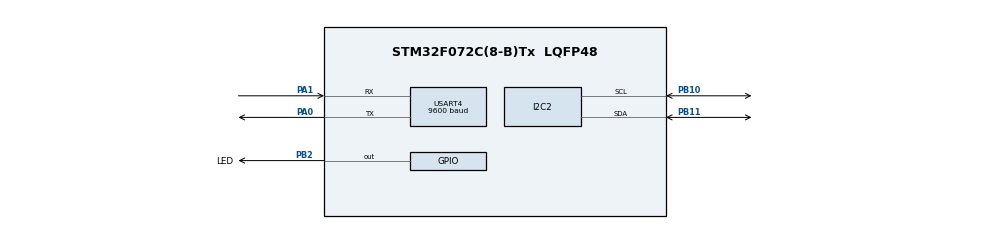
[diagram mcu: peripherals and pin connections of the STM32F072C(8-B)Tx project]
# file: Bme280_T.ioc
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Mcu.Family=STM32F0
Mcu.Name=STM32F072C(8-B)Tx
Mcu.Package=LQFP48
PA0.Mode=Asynchronous
PA0.Signal=USART4_TX
PA1.Mode=Asynchronous
PA1.Signal=USART4_RX
PB10.Mode=I2C
PB10.Signal=I2C2_SCL
PB11.Mode=I2C
PB11.Signal=I2C2_SDA
PB2.GPIO_Label=LED
PB2.Signal=GPIO_Output
PF0-OSC_IN.Mode=HSE-External-Oscillator
PF0-OSC_IN.Signal=RCC_OSC_IN
PF1-OSC_OUT.Mode=HSE-External-Oscillator
PF1-OSC_OUT.Signal=RCC_OSC_OUT
ProjectManager.HeapSize=0x200
ProjectManager.StackSize=0x400
ProjectManager.TargetToolchain=STM32CubeIDE
USART4.BaudRate=9600
USART4.Parity=PARITY_EVEN
USART4.VirtualMode-Asynchronous=VM_ASYNC
USART4.WordLength=WORDLENGTH_9B
board=custom

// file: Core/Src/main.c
/* USER CODE BEGIN Header */
/**
  ******************************************************************************
  * @file           : main.c
  * @brief          : Main program body
  ******************************************************************************
  * @attention
  *
  * <h2><center>&copy; Copyright (c) 2021 STMicroelectronics.
  * All rights reserved.</center></h2>
  *
  * This software component is licensed by ST under BSD 3-Clause license,
  * the "License"; You may not use this file except in compliance with the
  * License. You may obtain a copy of the License at:
  *                        opensource.org/licenses/BSD-3-Clause
  *
  ******************************************************************************
  */
/* USER CODE END Header */
#include "main.h"

/* USER CODE BEGIN Includes */
#include <string.h>
#include <stdio.h>
/* USER CODE END Includes */

I2C_HandleTypeDef hi2c2;

UART_HandleTypeDef huart4;

/* USER CODE BEGIN PV */
/*Информация о регистрах взята из "BME280 Combined humidity and pressure sensor"*/
#define BME280_ADDRESS 0x76<<1 /*I2C Адрес BME280, p.32, 6.2*/
#define BME280_REG_ID 0xD0 /*ID регистр BME280, p.26, 5.2*/
#define BME280_ID 0x60 /*Информация, читаемая от BME280 в ID регистре, 27, 5.4.1*/
#define BME280_REG_SOFTRESET 0xE0 /*Регистр для перезагрузки BME280, p.27, 5.4.2*/
#define BME280_SOFTRESET_VALUE 0xB6 /*Значение, записываемое в регистр для перезагрузки BME280, p.27, 5.4.2*/
#define BME280_REGISTER_STATUS 0XF3 /*Регистр статуса BME280, p.28, 5.4.4*/
#define BME280_STATUS_MEASURING 0X08 /*Значение из регистра статуса при запуске измерения BME280, p.28, 5.4.4*/
#define BME280_STATUS_IM_UPDATE 0X01 /*Значение из регистра статуса при окончании измерения BME280, p.28, 5.4.4*/
#define BME280_REGISTER_DIG_T1 0x88/*Регистр, откуда читаем калибровочное значение 1, p.24, 4.2.2*/
#define BME280_REGISTER_DIG_T2 0x8A/*Регистр, откуда читаем калибровочное значение 2, p.24, 4.2.2*/
#define BME280_REGISTER_DIG_T3 0x8C/*Регистр, откуда читаем калибровочное значение 3, p.24, 4.2.2*/
//------------------------------------------------//
#define BME280_REG_CONFIG 0xF5 /*Регистр конфигурации BME280, задаём время ожидания, значение постоянной времени
фильтра BME280, p.29, 5.4.6*/
#define BME280_STBY_MSK 0xE0/*Вспомогательная "маска" для параметрирования времени ожидания*/
/*Время ожидания t_standby, мс, p.30*/
#define BME280_STBY_0_5 0x00
#define BME280_STBY_62_5 0x20
#define BME280_STBY_125 0x40
#define BME280_STBY_250 0x60
#define BME280_STBY_500 0x80
#define BME280_STBY_1000 0xA0
#define BME280_STBY_10 0xC0
#define BME280_STBY_20 0xE0
//------------------------------------------------//
#define BME280_FILTER_MSK 0x1C/*Вспомогательная "маска" для параметрирования постоянной времени фильтра*/
/*Постоянная времени фильтра, p.30, 5.4.6., p.30*/
#define BME280_FILTER_OFF 0x00
#define BME280_FILTER_2 0x04
#define BME280_FILTER_4 0x08
#define BME280_FILTER_8 0x0C
#define BME280_FILTER_16 0x10
//------------------------------------------------//
#define BME280_REG_CTRL_MEAS 0xF4 /*Регистр параметров сбора данных давления и температуры, p.28, 5.4.5*/
/*p.29, 5.4.5*/
#define BME280_OSRS_T_MSK 0xE0/*Вспомогательная "маска" для параметрирования преддискретизации*/
/*Параметр преддискретизации температуры, p.29*/
#define BME280_OSRS_T_SKIP 0x00
#define BME280_OSRS_T_x1 0x20
#define BME280_OSRS_T_x2 0x40
#define BME280_OSRS_T_x4 0x60
#define BME280_OSRS_T_x8 0x80
#define BME280_OSRS_T_x16 0xA0
//------------------------------------------------//
#define BME280_MODE_MSK 0x03/*Вспомогательная "маска" для параметрирования режима работы BME280*/
/*Режим работы датчика, p.29*/
#define BME280_MODE_SLEEP 0x00
#define BME280_MODE_FORCED 0x01
#define BME280_MODE_NORMAL 0x03
//------------------------------------------------//
#define BME280_REGISTER_TEMPDATA 0xFA/*Регистр, откуда читаются данные температуры BME280, p.31, 5.4.8*/
//------------------------------------------------
#define be24toword(a) ((((a)>>16)&0x000000ff)|((a)&0x0000ff00)|(((a)<<16)&0x00ff0000))/*Функция перестановки байтов*/
//------------------------------------------------//
char str[100];/*Строка, в которой мы будем передавать нужную нам информацию по UART*/
typedef struct
{
  uint16_t dig_T1;
  int16_t dig_T2;
  int16_t dig_T3;
} BME280_CalibData;/*Переменные для калибровочных коэффициентов, p.24, 4.2.2*/
BME280_CalibData CalibData;
float tf = 0.0f;/*Переменная, куда записываем значение температуры*/
/* USER CODE END PV */

void SystemClock_Config(void);
static void MX_GPIO_Init(void);
static void MX_I2C2_Init(void);
static void MX_USART4_UART_Init(void);

/* USER CODE BEGIN 0 */
void Error()/*Функция, вызываемая в случае возникновения ошибки*/
{
	 HAL_GPIO_WritePin(LED_GPIO_Port, LED_Pin, GPIO_PIN_RESET);/*Выключение пользовательского светодиода*/
}
//------------------------------------------------//
void BME280I2Cx_WriteData(uint8_t Reg, uint8_t Value)/*Функция записи одного байта данных в заданный регистр*/
{
	HAL_StatusTypeDef status = HAL_OK;
	status = HAL_I2C_Mem_Write(&hi2c2, BME280_ADDRESS, (uint16_t)Reg, I2C_MEMADD_SIZE_8BIT, &Value, 1, 1000);/*Функция
записи данных value в заданный регистр Reg датчика BME280*/
	if(status != HAL_OK)/*Если произошла проблема при записи данных,*/
	{
		Error();/*Вызовем функцию ошибки*/
	}
}
//------------------------------------------------//
uint8_t BME280I2Cx_ReadData(uint8_t Reg)/*Функция чтения одного байта данных из заданного регистра*/
{
	HAL_StatusTypeDef status = HAL_OK;
	uint8_t value = 0;
	status = HAL_I2C_Mem_Read(&hi2c2, BME280_ADDRESS, Reg, I2C_MEMADD_SIZE_8BIT, &value, 1, 1000);/*Функция
чтения данных в переменную value из заданного регистра Reg датчика BME280*/
	if(status != HAL_OK)/*Если произошла проблема при чтении данных,*/
	{
		Error();/*Вызовем функцию ошибки*/
	}
	return value;/*Возвращаем прочитанное значение*/
}
//------------------------------------------------//
void BME280_ReadReg_U16(uint8_t Reg, uint16_t *Value)/*Функция чтения двух байт данных в беззнаковую переменную
value из заданного регистра*/
{
	HAL_StatusTypeDef status = HAL_OK;
	status = HAL_I2C_Mem_Read(&hi2c2, BME280_ADDRESS, Reg, I2C_MEMADD_SIZE_8BIT, (uint8_t*)Value, 2, 1000);/*Функция
чтения данных в переменную value из заданного регистра Reg датчика BME280*/
	if(status != HAL_OK)/*Если произошла проблема при чтении данных,*/
	{
		Error();/*Вызовем функцию ошибки*/
	}
}
//------------------------------------------------//
void BME280_ReadReg_S16(uint8_t Reg, int16_t *Value)/*Функция чтения двух байт данных в знаковую переменную
value из заданного регистра*/
{
	HAL_StatusTypeDef status = HAL_OK;
	status = HAL_I2C_Mem_Read(&hi2c2, BME280_ADDRESS, Reg, I2C_MEMADD_SIZE_8BIT, (uint8_t*)Value, 2, 1000);/*Функция
чтения данных в переменную value из заданного регистра Reg датчика BME280*/
	if(status != HAL_OK)/*Если произошла проблема при чтении данных,*/
	{
		Error();/*Вызовем функцию ошибки*/
	}
}
//------------------------------------------------//
void BME280_ReadReg_S24(uint8_t Reg, int32_t *Value)/*Функция чтения трёх байт данных в знаковую переменную value из заданного регистра*/
{
	HAL_StatusTypeDef status = HAL_OK;
	status = HAL_I2C_Mem_Read(&hi2c2, BME280_ADDRESS, Reg, I2C_MEMADD_SIZE_8BIT, (uint8_t*)Value, 3, 1000);/*Функция
чтения данных в переменную value из заданного регистра Reg датчика BME280*/
	if(status != HAL_OK)/*Если произошла проблема при чтении данных,*/
	{
		Error();/*Вызовем функцию ошибки*/
	}
	*(uint32_t *) Value = be24toword(*(uint32_t *) Value) & 0x00FFFFFF;/*Замена местами байт слова*/
}
//------------------------------------------------//
void BME280_Init()/*Функция инициализации BME280*/
{
	uint8_t value=0;
	uint32_t value32=0;
	HAL_GPIO_WritePin(LED_GPIO_Port, LED_Pin, GPIO_PIN_SET);/*Зажигаем пользовательский светодиод*/
	value = BME280I2Cx_ReadData(BME280_REG_ID);/*Считаем ID датчика*/
	sprintf(str, "ID: 0x%02X\n", value);/*Запишем в строку считанные данные*/
	HAL_UART_Transmit(&huart4,(uint8_t*)str,strlen(str),1000);/*Передадим строку по UART*/
	if(value !=BME280_ID)/*Если считанные данные не равны ID датчика, то*/
	{
		Error();/*Вызовем функцию ошибки*/
	}
	BME280I2Cx_WriteData(BME280_REG_SOFTRESET, BME280_SOFTRESET_VALUE);/*Перезагрузим датчик*/
	while (BME280I2Cx_ReadData(BME280_REGISTER_STATUS)&0x09 & BME280_STATUS_IM_UPDATE);/*Проверяем статус датчика,
готов ли датчик к работе*/
	/*Считаем калибровочные коэффициенты температуры датчика и передадим каждый из коэффициентов по UART*/
	BME280_ReadReg_U16(BME280_REGISTER_DIG_T1,&CalibData.dig_T1);
	sprintf(str, "DIG_T1: %u\n", CalibData.dig_T1);
	HAL_UART_Transmit(&huart4,(uint8_t*)str,strlen(str),1000);
	BME280_ReadReg_S16(BME280_REGISTER_DIG_T2,&CalibData.dig_T2);
	sprintf(str, "DIG_T2: %d\n", CalibData.dig_T2);
	HAL_UART_Transmit(&huart4,(uint8_t*)str,strlen(str),1000);
	BME280_ReadReg_S16(BME280_REGISTER_DIG_T3,&CalibData.dig_T3);
	sprintf(str, "DIG_T3: %d\n", CalibData.dig_T3);
	HAL_UART_Transmit(&huart4,(uint8_t*)str,strlen(str),1000);
	/*Зададим время ожидания датчика*/
	value = BME280I2Cx_ReadData(BME280_REG_CONFIG) & ~BME280_STBY_MSK;/*Считаем данные из регистра*/
	value |= BME280_STBY_1000 & BME280_STBY_MSK;/*Перезапишем именно те биты, которые отвечают за время ожидания*/
	BME280I2Cx_WriteData(BME280_REG_CONFIG,value);/*Запишем новые данные в регистр конфигурации BME280*/
	/*Зададим постоянную времени фильтра*/
	value = BME280I2Cx_ReadData(BME280_REG_CONFIG) & ~BME280_FILTER_MSK;/*Считаем данные из регистра*/
	value |= BME280_FILTER_4 & BME280_FILTER_MSK;/*Перезапишем биты, которые отвечают за постоянную времени фильтра*/
	BME280I2Cx_WriteData(BME280_REG_CONFIG,value);/*Запишем новые данные в регистр конфигурации BME280*/
	/*Настроим параметры сбора данных температуры*/
	value = BME280I2Cx_ReadData(BME280_REG_CTRL_MEAS) & ~BME280_OSRS_T_MSK;/*Считаем данные из регистра*/
	value |= BME280_OSRS_T_x4 & BME280_OSRS_T_MSK;/*Перезапишем биты, которые отвечают за преддискретизацию температуры*/
	BME280I2Cx_WriteData(BME280_REG_CTRL_MEAS,value);/*Запишем новые данные в регистр параметров сбора данных*/
	value32 = BME280I2Cx_ReadData(BME280_REG_CTRL_MEAS);/*Считаем данные из регистра параметров сбора данных*/
	sprintf(str, "Measurements status: %04X\n", value32);/*Запишем в строку считанные данные*/
	HAL_UART_Transmit(&huart4,(uint8_t*)str,strlen(str),1000);/*Передадим строку по UART*/
	sprintf(str, "Temperature: %s\n",
			(value32 & BME280_OSRS_T_MSK) ? "ON" : "OFF");/*Запишем в строку считанные данные и, если всё в порядке,
			то в строку пропишем ON, иначе OFF*/
	HAL_UART_Transmit(&huart4,(uint8_t*)str,strlen(str),1000);/*Передадим строку по UART*/
	/*Настроим режим работы*/
	value = BME280I2Cx_ReadData(BME280_REG_CTRL_MEAS) & ~BME280_MODE_MSK;/*Считаем данные из регистра параметров сбора данных*/
	value |= BME280_MODE_NORMAL & BME280_MODE_MSK;/*Перезапишем биты, которые отвечают за настройку режима работы BME280*/
	BME280I2Cx_WriteData(BME280_REG_CTRL_MEAS,value);/*Запишем новые данные в регистр параметров сбора данных*/
}
//------------------------------------------------//
float BME280_ReadTemperature()/*Функция чтения температуры*/
{
	float temper_float = 0.0f;/*Переменная типа Float (с плавающей точкой), куда записывается значение температуры*/
	int32_t temper_raw; /*Вспомогательная знаковая переменная, в которое переводятся полученные из регистра датчика данные*/
	int32_t temper_int;/*Переменная типа Integer, куда записывается значение температуры*/
	int32_t val1, val2;/*Вспомогательные переменные для вычисления температуры*/
	BME280_ReadReg_S24(BME280_REGISTER_TEMPDATA,&temper_raw);/*Читаем данные из регистра данных температуры*/
	temper_raw >>= 4;/*Сдвигаем переменную на 4 бита вправо, т.к. четыре самых младших бита не участвуют в показаниях*/
	/*Далее используем программный код, предлагаемый в документации от производителя, p.25*/
	val1 = ((((temper_raw>>3) - ((int32_t)CalibData.dig_T1 <<1))) *
			((int32_t)CalibData.dig_T2)) >> 11;
	val2 = (((((temper_raw>>4) - ((int32_t)CalibData.dig_T1)) *
			((temper_raw>>4) - ((int32_t)CalibData.dig_T1))) >> 12) *
			((int32_t)CalibData.dig_T3)) >> 14;
	temper_int = val1 + val2;
	temper_float = ((temper_int * 5 + 128) >> 8);
	temper_float /= 100.0f;/*Поделим вычисленные данные на 100, чтобы привести данные к удобному для чтения виду*/
	return temper_float;/*Возвращаем вычисленное в функции значение*/
}
/* USER CODE END 0 */

int main(void)
{

  /* MCU Configuration--------------------------------------------------------*/

  /* Reset of all peripherals, Initializes the Flash interface and the Systick. */
  HAL_Init();

  /* Configure the system clock */
  SystemClock_Config();

  /* Initialize all configured peripherals */
  MX_GPIO_Init();
  MX_I2C2_Init();
  MX_USART4_UART_Init();
  /* USER CODE BEGIN 2 */
  BME280_Init();/*Запустим функцию инициализации датчика BME280*/
  /* USER CODE END 2 */

  /* Infinite loop */
  /* USER CODE BEGIN WHILE */
  while (1)
  {

	  tf = BME280_ReadTemperature();/*Считаем значение температуры из функции вычисления температуры*/
	  sprintf(str, "Temperature: %.2f *C\n\n", tf);/*Запишем в строку считанное из функции значение температуры*/
	  HAL_UART_Transmit(&huart4,(uint8_t*)str,strlen(str),1000);/*Передадим строку по UART*/
	  HAL_Delay(1000);/*Организуем временную задержку в 1000мс*/

    /* USER CODE END WHILE */

  }
}

void SystemClock_Config(void)
{
  RCC_OscInitTypeDef RCC_OscInitStruct = {0};
  RCC_ClkInitTypeDef RCC_ClkInitStruct = {0};

  /** Initializes the RCC Oscillators according to the specified parameters
  * in the RCC_OscInitTypeDef structure.
  */
  RCC_OscInitStruct.OscillatorType = RCC_OSCILLATORTYPE_HSI;
  RCC_OscInitStruct.HSIState = RCC_HSI_ON;
  RCC_OscInitStruct.HSICalibrationValue = RCC_HSICALIBRATION_DEFAULT;
  RCC_OscInitStruct.PLL.PLLState = RCC_PLL_NONE;
  if (HAL_RCC_OscConfig(&RCC_OscInitStruct) != HAL_OK)
  {
    Error_Handler();
  }
  /** Initializes the CPU, AHB and APB buses clocks
  */
  RCC_ClkInitStruct.ClockType = RCC_CLOCKTYPE_HCLK|RCC_CLOCKTYPE_SYSCLK
                              |RCC_CLOCKTYPE_PCLK1;
  RCC_ClkInitStruct.SYSCLKSource = RCC_SYSCLKSOURCE_HSI;
  RCC_ClkInitStruct.AHBCLKDivider = RCC_SYSCLK_DIV1;
  RCC_ClkInitStruct.APB1CLKDivider = RCC_HCLK_DIV1;

  if (HAL_RCC_ClockConfig(&RCC_ClkInitStruct, FLASH_LATENCY_0) != HAL_OK)
  {
    Error_Handler();
  }
}

static void MX_I2C2_Init(void)
{

  hi2c2.Instance = I2C2;
  hi2c2.Init.Timing = 0x2000090E;
  hi2c2.Init.OwnAddress1 = 0;
  hi2c2.Init.AddressingMode = I2C_ADDRESSINGMODE_7BIT;
  hi2c2.Init.DualAddressMode = I2C_DUALADDRESS_DISABLE;
  hi2c2.Init.OwnAddress2 = 0;
  hi2c2.Init.OwnAddress2Masks = I2C_OA2_NOMASK;
  hi2c2.Init.GeneralCallMode = I2C_GENERALCALL_DISABLE;
  hi2c2.Init.NoStretchMode = I2C_NOSTRETCH_DISABLE;
  if (HAL_I2C_Init(&hi2c2) != HAL_OK)
  {
    Error_Handler();
  }
  /** Configure Analogue filter
  */
  if (HAL_I2CEx_ConfigAnalogFilter(&hi2c2, I2C_ANALOGFILTER_ENABLE) != HAL_OK)
  {
    Error_Handler();
  }
  /** Configure Digital filter
  */
  if (HAL_I2CEx_ConfigDigitalFilter(&hi2c2, 0) != HAL_OK)
  {
    Error_Handler();
  }

}

static void MX_USART4_UART_Init(void)
{

  huart4.Instance = USART4;
  huart4.Init.BaudRate = 9600;
  huart4.Init.WordLength = UART_WORDLENGTH_9B;
  huart4.Init.StopBits = UART_STOPBITS_1;
  huart4.Init.Parity = UART_PARITY_EVEN;
  huart4.Init.Mode = UART_MODE_TX_RX;
  huart4.Init.HwFlowCtl = UART_HWCONTROL_NONE;
  huart4.Init.OverSampling = UART_OVERSAMPLING_16;
  huart4.Init.OneBitSampling = UART_ONE_BIT_SAMPLE_DISABLE;
  huart4.AdvancedInit.AdvFeatureInit = UART_ADVFEATURE_NO_INIT;
  if (HAL_UART_Init(&huart4) != HAL_OK)
  {
    Error_Handler();
  }

}

static void MX_GPIO_Init(void)
{
  GPIO_InitTypeDef GPIO_InitStruct = {0};

  /* GPIO Ports Clock Enable */
  __HAL_RCC_GPIOF_CLK_ENABLE();
  __HAL_RCC_GPIOA_CLK_ENABLE();
  __HAL_RCC_GPIOB_CLK_ENABLE();

  /*Configure GPIO pin Output Level */
  HAL_GPIO_WritePin(LED_GPIO_Port, LED_Pin, GPIO_PIN_RESET);

  /*Configure GPIO pin : LED_Pin */
  GPIO_InitStruct.Pin = LED_Pin;
  GPIO_InitStruct.Mode = GPIO_MODE_OUTPUT_PP;
  GPIO_InitStruct.Pull = GPIO_NOPULL;
  GPIO_InitStruct.Speed = GPIO_SPEED_FREQ_LOW;
  HAL_GPIO_Init(LED_GPIO_Port, &GPIO_InitStruct);

}

void Error_Handler(void)
{
  __disable_irq();
  while (1)
  {
  }
}

/************************ (C) COPYRIGHT STMicroelectronics *****END OF FILE****/
